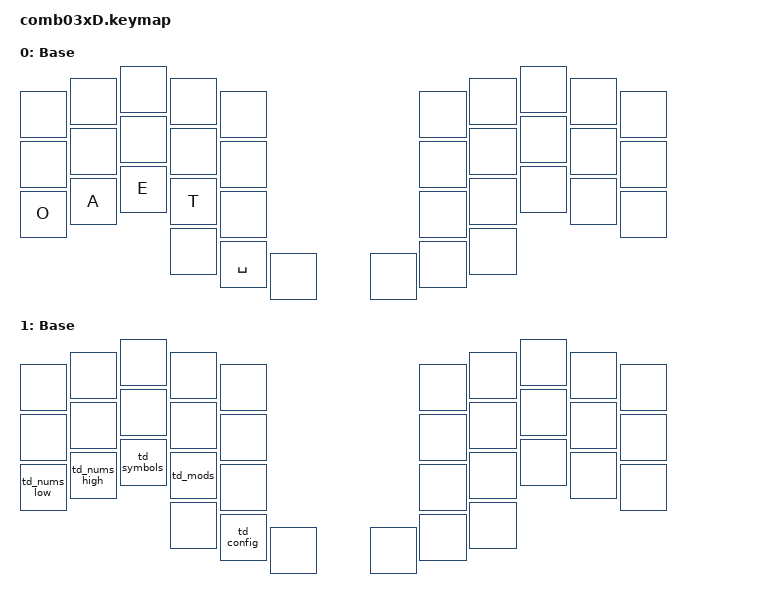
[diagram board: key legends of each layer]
#include <behaviors.dtsi>
#include <dt-bindings/zmk/keys.h>
#include <dt-bindings/zmk/bt.h>
#include <dt-bindings/zmk/behaviors.h>

#define BASE 0
#define TAPD 1


&sk {
    release-after-ms = <10000>;
    quick-release;
    lazy;
};

/ {  

    behaviors {
	// tap dance behaviour
        td_symbols: tap_dance_0 {
            compatible = "zmk,behavior-tap-dance";
            #binding-cells = <0>;
            tapping-term-ms = <500>;
            bindings = <&kp DOT>, <&kp COMMA>, <&kp QUESTION>, <&kp EXCLAMATION>;
        };
        
        td_mods: tap_dance_1 {
            compatible = "zmk,behavior-tap-dance";
            #binding-cells = <0>;
            tapping-term-ms = <500>;
            bindings = <&sk LSFT>, <&sk LCTL>, <&sk LALT>, <&sk LGUI>;
        };
        
        td_nums_low: tap_dance_3 {
            compatible = "zmk,behavior-tap-dance";
            #binding-cells = <0>;
            tapping-term-ms = <500>;
            bindings = <&kp N0>, <&kp N1>, <&kp N2>, <&kp N3>, <&kp N4>;
        };
        
        td_nums_high: tap_dance_4 {
            compatible = "zmk,behavior-tap-dance";
            #binding-cells = <0>;
            tapping-term-ms = <500>;
            bindings = <&kp N5>, <&kp N6>, <&kp N7>, <&kp N8>, <&kp N9>;
        };
        
        td_config: tap_dance_5 {
            compatible = "zmk,behavior-tap-dance";
            #binding-cells = <0>;
            tapping-term-ms = <500>;
            bindings = <&to BASE>, <&bt BT_CLR_ALL>, <&to BASE>;
        };
    };
    
    combos {
        compatible = "zmk,combos";
        //Todo: clean up the brainfarts of a mad man
        // 20 21 22 23 31
        // middle finger, index finger, thumb, ring finger, pinky finger
        //34, 35, 45, 23, 24, 25, 13, 14, 15, 12
        // 9,  8,  7,6.5,  6,  5,4.5,  4,  3,  2
         //I, N,  S,  R,  H,  L,  D,  C,  U,  M
        
        //3=4.5, 4=4, 5=3, 2=2, 1=0
        
        //123, 124, 125, 134, 135, 145, 234, 235, 245, 345
//        6.5,   6,   5, 8.5, 7.5,   7,10.5, 9.5,   9,11.5         e
//        345, 234, 235, 245, 134, 135, 145, 123, 124, 125
//          F, P,   G,   W,   Y,   B,   V,   K,   X,   J,
//        
//        1234, 1235, 1245, 1345, 2345
//        10.5, 9.5, 9, 11.5, 13.5
//        2345 (space), 1345(?), 1234(backspace), 1235(dot), 1245(z)
//        
//        12345 (enter)

        combo_123 {
            timeout-ms = <150>;
            key-positions = <20 21 22>;
            bindings = <&kp K>;
        };
                
        combo_124 {
            timeout-ms = <150>;
            key-positions = <20 21 23>;
            bindings = <&kp X>;
        };
                
        combo_125 {
            timeout-ms = <150>;
            key-positions = <20 21 31>;
            bindings = <&kp J>;
        };
                
        combo_134 {
            timeout-ms = <150>;
            key-positions = <20 22 23>;
            bindings = <&kp Y>;
        };
                
        combo_135 {
            timeout-ms = <150>;
            key-positions = <20 22 31>;
            bindings = <&kp B>;
        };
                
        combo_145 {
            timeout-ms = <150>;
            key-positions = <20 23 31>;
            bindings = <&kp V>;
        };
                
        combo_234 {
            timeout-ms = <150>;
            key-positions = <21 22 23>;
            bindings = <&kp P>;
        };
                
        combo_235 {
            timeout-ms = <150>;
            key-positions = <21 22 31>;
            bindings = <&kp G>;
        };
                
        combo_245 {
            timeout-ms = <150>;
            key-positions = <21 23 31>;
            bindings = <&kp W>;
        };
                
        combo_345 {
            timeout-ms = <150>;
            key-positions = <22 23 31>;
            bindings = <&kp F>;
        };

        combo_1234 {
            timeout-ms = <150>;
            key-positions = <20 21 22 23>;
            bindings = <&kp BACKSPACE>;
        };
                
        combo_1235 {
            timeout-ms = <150>;
            key-positions = <20 21 22 31>;
            bindings = <&sk LSFT>;
        };
                
        combo_1245 {
            timeout-ms = <150>;
            key-positions = <20 21 23 31>;
            bindings = <&tog TAPD>;
        };
                
        combo_1345 {
            timeout-ms = <150>;
            key-positions = <20 22 23 31>;
            bindings = <&kp Z>;
        };
                
        combo_2345 {
            timeout-ms = <150>;
            key-positions = <21 22 23 31>;
            bindings = <&kp Q>;
        };
                
        combo_12345 {
            timeout-ms = <150>;
            key-positions = <20 21 22 23 31>;
            bindings = <&kp ENTER>;
        };
        
        
        combo_12 {
            timeout-ms = <150>;
            key-positions = <20 21>;
            bindings = <&kp M>;
        };
        
        combo_13 {
            timeout-ms = <150>;
            key-positions = <20 22>;
            bindings = <&kp D>;
        };
                
        combo_14 {
            timeout-ms = <150>;
            key-positions = <20 23>;
            bindings = <&kp C>;
        };
                
        combo_15 {
            timeout-ms = <150>;
            key-positions = <20 31>;
            bindings = <&kp U>;
        };
                
        combo_23 {
            timeout-ms = <150>;
            key-positions = <21 22>;
            bindings = <&kp R>;
        };
                
        combo_24 {
            timeout-ms = <150>;
            key-positions = <21 23>;
            bindings = <&kp H>;
        };
                
        combo_25 {
            timeout-ms = <150>;
            key-positions = <21 31>;
            bindings = <&kp L>;
        };
                
        combo_34 {
            timeout-ms = <150>;
            key-positions = <22 23>;
            bindings = <&kp I>;
        };
                
        combo_35 {
            timeout-ms = <150>;
            key-positions = <22 31>;
            bindings = <&kp N>;
        };
                
        combo_45 {
            timeout-ms = <150>;
            key-positions = <23 31>;
            bindings = <&kp S>;
        };
        
        
    };
    
    keymap {
        compatible = "zmk,keymap";


        default_layer { // Layer 0
            display-name = "Base";
            bindings = <
                &none    &none    &none    &none    &none                   
                &none    &none    &none    &none    &none
                
                &none    &none    &none    &none    &none                   
                &none    &none    &none    &none    &none
                
                &kp O    &kp A    &kp E    &kp T      &none   
                &none    &none    &none    &none    &none              
                  
                &none    &kp SPACE    &none                  
                &none    &none    &none

            >;
        };
        
        tapdance_layer { // Tapdance Layer
            display-name = "Base";
            bindings = <
                &none    &none    &none    &none    &none                   
                &none    &none    &none    &none    &none
                
                &none    &none    &none    &none    &none                   
                &none    &none    &none    &none    &none
                
                &td_nums_low    &td_nums_high    &td_symbols    &td_mods      &none   
                &none    &none    &none    &none    &none              
                  
                &none    &td_config    &none                  
                &none    &none    &none

            >;
        };
    };
 };
